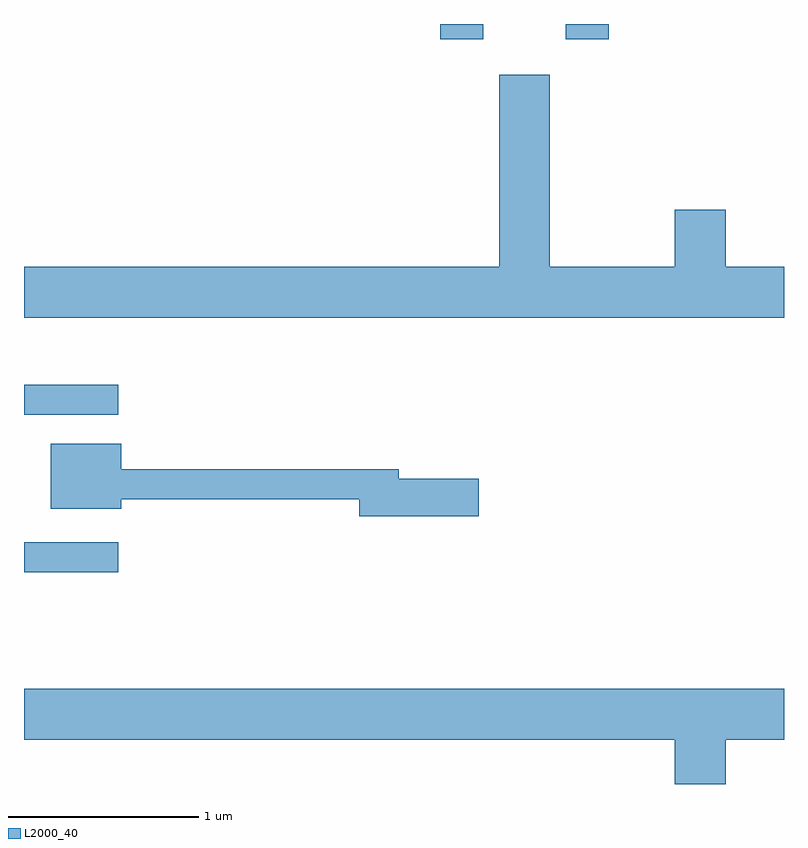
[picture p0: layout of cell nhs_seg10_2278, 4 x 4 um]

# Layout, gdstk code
import gdstk
lib = gdstk.Library(unit=1e-6, precision=1e-09)
def R(c, l, rs):  # rectangles x0, y0, x1, y1
    for r in rs: c.add(gdstk.rectangle(r[:2], r[2:], *l))
def P(c, l, *ps):  # polygons
    for p in ps: c.add(gdstk.Polygon(p, *l))
L2000_40 = (2000, 40)

nhs_seg10_2278 = lib.new_cell('nhs_seg10_2278')
R(nhs_seg10_2278, L2000_40, [(251.611,2163.636,252.108,2163.794), (251.611,2164.466,252.108,2164.624), (253.801,2166.441,254.029,2166.522), (254.461,2166.441,254.689,2166.522)])
P(nhs_seg10_2278, L2000_40, [(255.611,2165.244),(255.304,2165.244),(255.304,2165.544),(255.036,2165.544),(255.036,2165.244),(254.379,2165.244),(254.379,2166.254),(254.111,2166.254),(254.111,2165.244),(251.611,2165.244),(251.611,2164.976),(255.611,2164.976)],
  [(254.004,2164.129),(253.584,2164.129),(253.584,2164.179),(252.124,2164.179),(252.124,2164.314),(251.751,2164.314),(251.751,2163.971),(252.124,2163.971),(252.124,2164.021),(253.376,2164.021),(253.376,2163.931),(254.004,2163.931)],
  [(255.304,2162.756),(255.611,2162.756),(255.611,2163.024),(251.611,2163.024),(251.611,2162.756),(255.036,2162.756),(255.036,2162.522),(255.304,2162.522)])

lib.write_gds('nhs_seg10_2278.gds')
